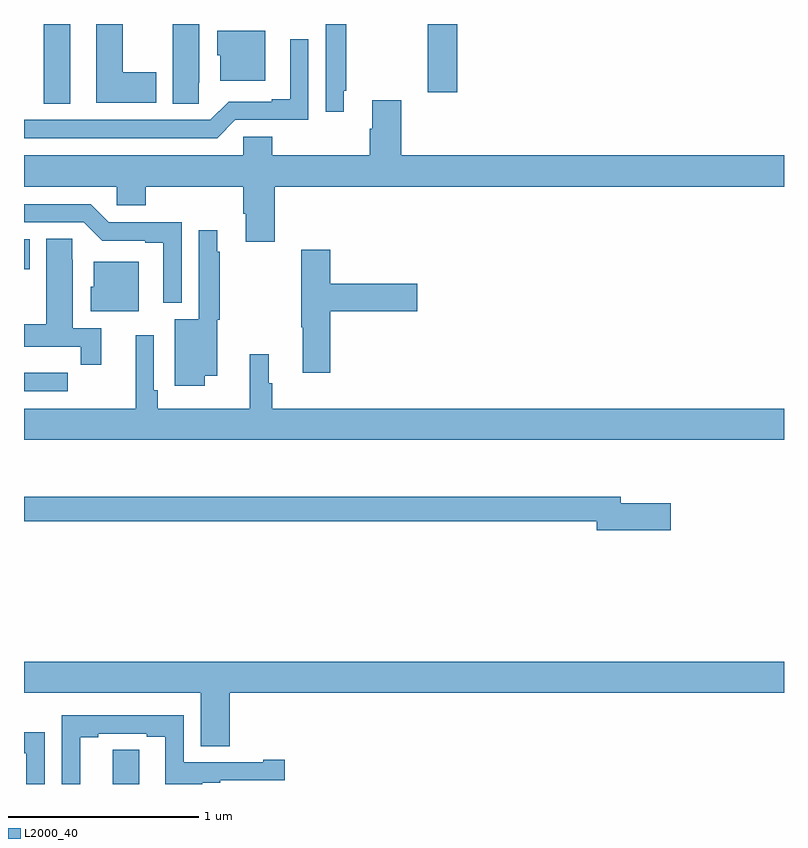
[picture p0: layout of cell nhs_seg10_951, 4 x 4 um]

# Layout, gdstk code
import gdstk
lib = gdstk.Library(unit=1e-6, precision=1e-09)
def R(c, l, rs):  # rectangles x0, y0, x1, y1
    for r in rs: c.add(gdstk.rectangle(r[:2], r[2:], *l))
def P(c, l, *ps):  # polygons
    for p in ps: c.add(gdstk.Polygon(p, *l))
L2000_40 = (2000, 40)

nhs_seg10_951 = lib.new_cell('nhs_seg10_951')
R(nhs_seg10_951, L2000_40, [(159,1305.208,159.031,1305.367), (159.104,1306.081,159.244,1306.5), (161.125,1306.14,161.279,1306.5)])
P(nhs_seg10_951, L2000_40, [(160.684,1306.15),(160.696,1306.15),(160.696,1306.5),(160.587,1306.5),(160.587,1306.038),(160.684,1306.038)],
  [(159.697,1306.245),(159.52,1306.245),(159.52,1306.5),(159.38,1306.5),(159.38,1306.085),(159.697,1306.085)],
  [(159.921,1306.192),(159.922,1306.192),(159.922,1306.5),(159.782,1306.5),(159.782,1306.081),(159.921,1306.081)],
  [(160.27,1306.465),(160.016,1306.465),(160.016,1306.335),(160.034,1306.335),(160.034,1306.202),(160.27,1306.202)],
  [(160.113,1305.996),(160.497,1305.996),(160.497,1306.42),(160.4,1306.42),(160.4,1306.105),(160.304,1306.105),(160.304,1306.092),(160.077,1306.092),(159.981,1305.996),(159,1305.996),(159,1305.9),(160.017,1305.9)],
  [(160.155,1305.808),(159,1305.808),(159,1305.644),(159.489,1305.644),(159.489,1305.546),(159.641,1305.546),(159.641,1305.644),(160.154,1305.644),(160.154,1305.502),(160.166,1305.502),(160.166,1305.354),(160.319,1305.354),(160.319,1305.644),(163,1305.644),(163,1305.808),(160.985,1305.808),(160.985,1306.099),(160.832,1306.099),(160.832,1305.95),(160.82,1305.95),(160.82,1305.808),(160.307,1305.808),(160.307,1305.906),(160.155,1305.906)],
  [(159.831,1305.456),(159.447,1305.456),(159.351,1305.552),(159,1305.552),(159,1305.456),(159.315,1305.456),(159.411,1305.36),(159.638,1305.36),(159.638,1305.348),(159.734,1305.348),(159.734,1305.032),(159.831,1305.032)],
  [(159.952,1304.648),(160.018,1304.648),(160.018,1304.943),(160.03,1304.943),(160.03,1305.302),(160.018,1305.302),(160.018,1305.415),(159.921,1305.415),(159.921,1304.947),(159.794,1304.947),(159.794,1304.595),(159.952,1304.595)],
  [(159.407,1304.898),(159.256,1304.898),(159.256,1305.26),(159.255,1305.26),(159.255,1305.371),(159.116,1305.371),(159.116,1304.919),(159,1304.919),(159,1304.802),(159.298,1304.802),(159.298,1304.706),(159.407,1304.706)],
  [(160.613,1304.987),(161.071,1304.987),(161.071,1305.134),(160.613,1305.134),(160.613,1305.313),(160.459,1305.313),(160.459,1304.903),(160.466,1304.903),(160.466,1304.664),(160.613,1304.664)],
  [(159.604,1305.25),(159.368,1305.25),(159.368,1305.117),(159.35,1305.117),(159.35,1304.987),(159.604,1304.987)],
  [(159.229,1304.664),(159.116,1304.664),(159.116,1304.665),(159,1304.665),(159,1304.568),(159.229,1304.568)],
  [(160.288,1304.61),(160.288,1304.761),(160.189,1304.761),(160.189,1304.476),(159.704,1304.476),(159.704,1304.572),(159.684,1304.572),(159.684,1304.863),(159.587,1304.863),(159.587,1304.476),(159,1304.476),(159,1304.312),(163,1304.312),(163,1304.476),(160.307,1304.476),(160.307,1304.61)],
  [(162.403,1303.977),(162.142,1303.977),(162.142,1304.011),(159,1304.011),(159,1303.882),(162.014,1303.882),(162.014,1303.835),(162.403,1303.835)],
  [(160.082,1302.98),(163,1302.98),(163,1303.144),(159,1303.144),(159,1302.98),(159.929,1302.98),(159.929,1302.7),(160.082,1302.7)],
  [(159.295,1302.745),(159.391,1302.745),(159.391,1302.765),(159.647,1302.765),(159.647,1302.75),(159.743,1302.75),(159.743,1302.5),(159.938,1302.5),(159.938,1302.507),(160.033,1302.507),(160.033,1302.519),(160.372,1302.519),(160.372,1302.628),(160.259,1302.628),(160.259,1302.615),(159.84,1302.615),(159.84,1302.861),(159.198,1302.861),(159.198,1302.5),(159.295,1302.5)],
  [(159.108,1302.773),(159,1302.773),(159,1302.663),(159.011,1302.663),(159.011,1302.5),(159.108,1302.5)],
  [(159.607,1302.572),(159.606,1302.572),(159.606,1302.68),(159.467,1302.68),(159.467,1302.5),(159.607,1302.5)])

lib.write_gds('nhs_seg10_951.gds')
